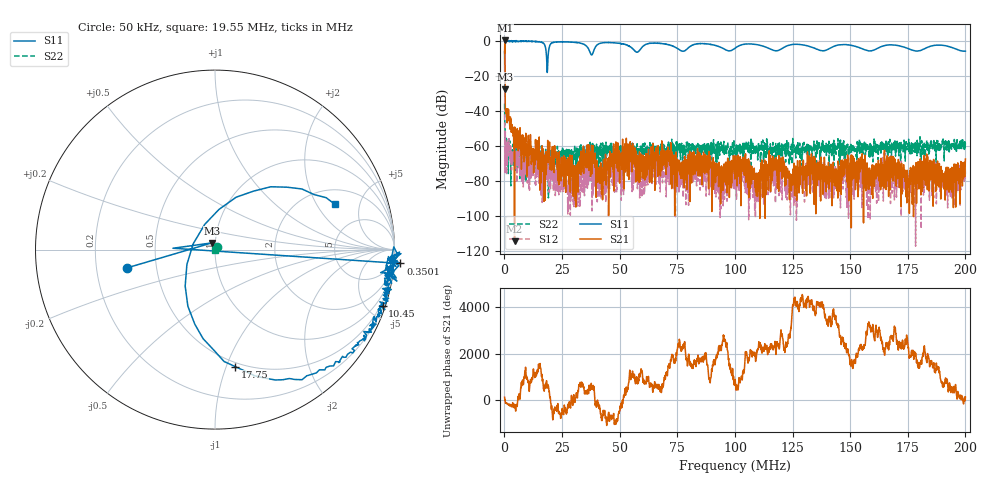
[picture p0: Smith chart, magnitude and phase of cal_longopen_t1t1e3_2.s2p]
! 26-Feb-26 1:49:48 PM
! E:\VNA_MEASUREMENTS\CAL_S11\CAL_LONGOPEN_T1T1E3_2.S2P
! CHANNEL.1
! TR.MEASUREMENT
! CORRECTED.DATA
# GHZ S RI R 50.0
! FREQ.GHZ  S11RE  S11IM  S21RE  S21IM  S12RE  S12IM  S22RE  S22IM
!; PortSelection: Port_12
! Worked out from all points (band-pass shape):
!   2000 points, 50 kHz to 200 MHz, reference 50 ohm
!   highest |S21| = 0.32 dB at 150 kHz (marker M1); lowest = -114.4 dB at 4.351 MHz (marker M2)
!   |S21| within 3 dB of the highest: 107.3 kHz to 162 kHz (54.78 kHz wide, 40.7 % of centre)
!   lowest |S11| = -27.7 dB at 150 kHz (marker M3), VSWR 1.09, Z = 48.2 + j3.62 ohm
!   |S11| at or under -10 dB: 68.29 kHz to 270.3 kHz (202 kHz wide, 119 % of centre); 18.29 MHz to 18.86 MHz (567.1 kHz wide, 3.05 % of centre)
!   |S22| runs from -89.7 to -35.9 dB; largest |S21 - S12| = 1
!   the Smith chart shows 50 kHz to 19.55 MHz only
!   S11 on the Smith chart (normalised r, x): 50 kHz: 0.34, -0.09; 350.1 kHz: -10, -22; 10.45 MHz: 0.27, -6.08; 17.75 MHz: 0.46, -1.08; 19.55 MHz: 2.80, +2.89
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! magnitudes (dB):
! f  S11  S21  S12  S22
! 50 kHz  -6.0  -6.7  -42.0  -35.9
! 150 kHz  -27.7  0.3  -57.0  -46.9
! 350.1 kHz  0.3  -39.3  -52.0  -56.0
! 1.35 MHz  0.2  -39.5  -64.2  -67.9
! 4.351 MHz  -0.3  -114.4  -69.5  -58.2
! 10.45 MHz  -0.1  -71.3  -76.8  -70.6
! 17.75 MHz  -3.6  -64.9  -83.1  -68.5
! 19.55 MHz  -2.9  -57.8  -66.4  -73.5
! 30.56 MHz  -0.8  -85.5  -81.4  -67.9
! 33.46 MHz  -1.4  -75.0  -81.8  -61.2
! 38.56 MHz  -6.1  -70.2  -78.1  -64.5
! 41.66 MHz  -1.2  -80.9  -87.4  -61.1
! 53.86 MHz  -2.7  -64.2  -75.3  -73.4
! 59.86 MHz  -3.3  -69.8  -80.9  -61.1
! 66.77 MHz  -1.2  -62.2  -70.9  -60.6
! 93.87 MHz  -3.6  -81.9  -96.0  -57.8
! 100.1 MHz  -4.1  -70.7  -81.3  -63.5
! 109.5 MHz  -2.1  -75.6  -92.3  -61.7
! 133.4 MHz  -3.5  -74.9  -77.7  -61.1
! 166.7 MHz  -2.2  -88.9  -72.5  -57.5
! 193.9 MHz  -3.6  -82.4  -78.7  -60.1
! 200 MHz  -5.8  -67.5  -75.9  -59.2
